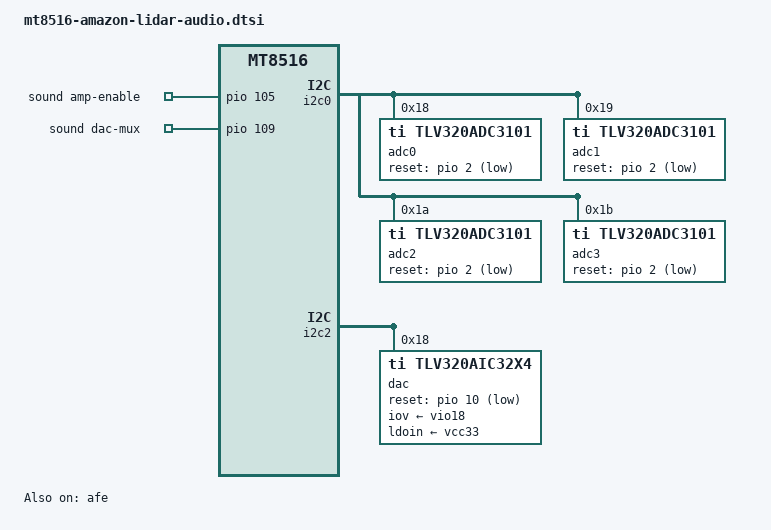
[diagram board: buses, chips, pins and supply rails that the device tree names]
// SPDX-License-Identifier: (GPL-2.0 OR MIT)
/*
 * Audio of the Amazon Echo Plus (2nd generation), codename "lidar".
 *
 * Playback: AFE I2S output -> TLV320AIC32x4 DAC -> analog switch (GPIO109)
 * -> speaker amplifier (enable on GPIO105) or the 3.5 mm line output.
 *
 * Capture: seven microphones on four TLV320ADC3101 stereo ADCs, which share
 * one TDM data line into the AFE and are clocked from the TDM bit clock. The
 * RESET pins of the four ADCs are wired together to GPIO2.
 */

#include <dt-bindings/sound/tlv320adc3xxx.h>

/ {
	sound {
		compatible = "amazon,lidar-sound";
		pinctrl-names = "default";
		pinctrl-0 = <&audio_gpio_pins>;
		mediatek,platform = <&afe>;
		amp-enable-gpios = <&pio 105 GPIO_ACTIVE_HIGH>;
		dac-mux-gpios = <&pio 109 GPIO_ACTIVE_HIGH>;

		speaker-dai-link {
			codec {
				sound-dai = <&dac>;
			};
		};

		mic-dai-link {
			codec {
				sound-dai = <&adc0>, <&adc1>, <&adc2>, <&adc3>;
			};
		};
	};
};

&afe {
	pinctrl-names = "default";
	pinctrl-0 = <&audio_pins>;
	status = "okay";
};

&i2c0 {
	adc0: audio-codec@18 {
		compatible = "ti,tlv320adc3101";
		reg = <0x18>;
		#sound-dai-cells = <0>;
		reset-gpios = <&pio 2 GPIO_ACTIVE_LOW>;
		ti,micbias1-vg = <ADC3XXX_MICBIAS_2_5V>;
		ti,micbias2-vg = <ADC3XXX_MICBIAS_2_5V>;
		sound-name-prefix = "ADC1";
	};

	adc1: audio-codec@19 {
		compatible = "ti,tlv320adc3101";
		reg = <0x19>;
		#sound-dai-cells = <0>;
		reset-gpios = <&pio 2 GPIO_ACTIVE_LOW>;
		ti,micbias1-vg = <ADC3XXX_MICBIAS_2_5V>;
		ti,micbias2-vg = <ADC3XXX_MICBIAS_2_5V>;
		sound-name-prefix = "ADC2";
	};

	adc2: audio-codec@1a {
		compatible = "ti,tlv320adc3101";
		reg = <0x1a>;
		#sound-dai-cells = <0>;
		reset-gpios = <&pio 2 GPIO_ACTIVE_LOW>;
		ti,micbias1-vg = <ADC3XXX_MICBIAS_2_5V>;
		ti,micbias2-vg = <ADC3XXX_MICBIAS_2_5V>;
		sound-name-prefix = "ADC3";
	};

	adc3: audio-codec@1b {
		compatible = "ti,tlv320adc3101";
		reg = <0x1b>;
		#sound-dai-cells = <0>;
		reset-gpios = <&pio 2 GPIO_ACTIVE_LOW>;
		ti,micbias1-vg = <ADC3XXX_MICBIAS_2_5V>;
		ti,micbias2-vg = <ADC3XXX_MICBIAS_2_5V>;
		sound-name-prefix = "ADC4";
	};
};

&i2c2 {
	dac: audio-codec@18 {
		compatible = "ti,tlv320aic32x4";
		reg = <0x18>;
		#sound-dai-cells = <0>;
		/* master clock of the AFE I2S output, on the I2S_8CH_MCK pad */
		clocks = <&topckgen CLK_TOP_APLL12_DIV1>;
		clock-names = "mclk";
		reset-gpios = <&pio 10 GPIO_ACTIVE_LOW>;
		iov-supply = <&vio18>;
		ldoin-supply = <&vcc33>;
		/*
		 * MFP4 and MFP5 are general purpose outputs. MFP5 mutes the
		 * speaker amplifier when driven high: it starts high (muted)
		 * and the machine driver releases it once the DAC is up.
		 */
		aic32x4-gpio-func = <0xff 0xff 0xff 0x04 0x0d>;
	};
};

&pio {
	audio_pins: audio-pins {
		pins-i2s-tdm {
			pinmux = <MT8516_PIN_25_EINT25__FUNC_I2S_8CH_MCK>,
				 <MT8516_PIN_55_I2S_DATA_IN__FUNC_I2S_8CH_DO1>,
				 <MT8516_PIN_56_I2S_LRCK__FUNC_I2S_8CH_LRCK>,
				 <MT8516_PIN_57_I2S_BCK__FUNC_I2S_8CH_BCK>,
				 <MT8516_PIN_101_CMDAT1__FUNC_TDM_RX_BCK>,
				 <MT8516_PIN_102_CMMCLK__FUNC_TDM_RX_LRCK>,
				 <MT8516_PIN_103_CMPCLK__FUNC_TDM_RX_DI>;
			drive-strength = <4>;
		};
	};

	audio_gpio_pins: audio-gpio-pins {
		pins-amp-mux {
			pinmux = <MT8516_PIN_105_MSDC1_CLK__FUNC_GPIO105>,
				 <MT8516_PIN_109_MSDC1_DAT3__FUNC_GPIO109>;
			bias-disable;
		};
	};
};
